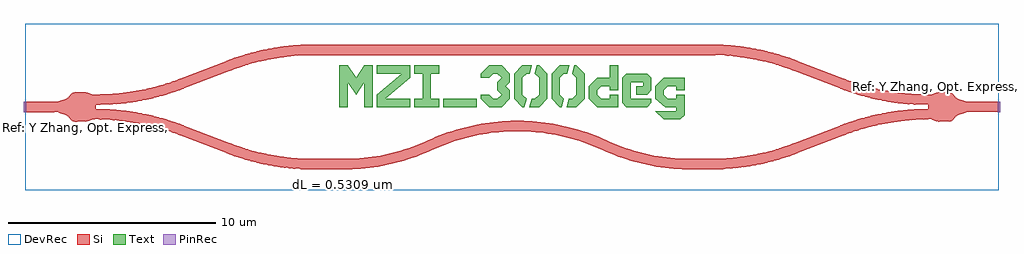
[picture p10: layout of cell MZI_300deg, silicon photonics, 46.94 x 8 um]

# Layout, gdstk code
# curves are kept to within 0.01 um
import gdstk
lib = gdstk.Library(unit=1e-6, precision=1e-09)
def R(c, l, rs):  # rectangles x0, y0, x1, y1
    for r in rs: c.add(gdstk.rectangle(r[:2], r[2:], *l))
def P(c, l, *ps):  # polygons
    for p in ps: c.add(gdstk.Polygon(p, *l))
Si = (1, 0)
PinRec = (1, 10)
Text = (10, 0)
DevRec = (68, 0)

optical_port1 = lib.new_cell('optical_port1')
optical_port1.add(gdstk.FlexPath([(0.05,0),(-0.05,0)], 0.5, ends="flush", simple_path=True, layer=1, datatype=10))  # PinRec
optical_port1.add(gdstk.FlexPath([(0.05,0),(-0.05,0)], 0.5, ends="flush", simple_path=True, layer=1, datatype=10))  # PinRec
optical_port1.add(gdstk.FlexPath([(0.05,0),(-0.05,0)], 0.5, ends="flush", simple_path=True, layer=1, datatype=10))  # PinRec
optical_port1.add(gdstk.FlexPath([(0.05,0),(-0.05,0)], 0.5, ends="flush", simple_path=True, layer=1, datatype=10))  # PinRec
optical_port1.add(gdstk.FlexPath([(0.05,0),(-0.05,0)], 0.5, ends="flush", simple_path=True, layer=1, datatype=10))  # PinRec
optical_port1.add(gdstk.FlexPath([(0.05,0),(-0.05,0)], 0.5, ends="flush", simple_path=True, layer=1, datatype=10))  # PinRec
optical_port1.add(gdstk.FlexPath([(0.05,0),(-0.05,0)], 0.5, ends="flush", simple_path=True, layer=1, datatype=10))  # PinRec
optical_port1.add(gdstk.FlexPath([(0.05,0),(-0.05,0)], 0.5, ends="flush", simple_path=True, layer=1, datatype=10))  # PinRec
optical_port1.add(gdstk.FlexPath([(0.05,0),(-0.05,0)], 0.5, ends="flush", simple_path=True, layer=1, datatype=10))  # PinRec
optical_port1.add(gdstk.FlexPath([(0.05,0),(-0.05,0)], 0.5, ends="flush", simple_path=True, layer=1, datatype=10))  # PinRec
optical_port1.add(gdstk.FlexPath([(0.05,0),(-0.05,0)], 0.5, ends="flush", simple_path=True, layer=1, datatype=10))  # PinRec
optical_port1.add(gdstk.FlexPath([(0.05,0),(-0.05,0)], 0.5, ends="flush", simple_path=True, layer=1, datatype=10))  # PinRec
optical_port1.add(gdstk.FlexPath([(0.05,0),(-0.05,0)], 0.5, ends="flush", simple_path=True, layer=1, datatype=10))  # PinRec
optical_port1.add(gdstk.FlexPath([(0.05,0),(-0.05,0)], 0.5, ends="flush", simple_path=True, layer=1, datatype=10))  # PinRec
optical_port1.add(gdstk.FlexPath([(0.05,0),(-0.05,0)], 0.5, ends="flush", simple_path=True, layer=1, datatype=10))  # PinRec
optical_port1.add(gdstk.FlexPath([(0.05,0),(-0.05,0)], 0.5, ends="flush", simple_path=True, layer=1, datatype=10))  # PinRec
optical_port1.add(gdstk.FlexPath([(0.05,0),(-0.05,0)], 0.5, ends="flush", simple_path=True, layer=1, datatype=10))  # PinRec
optical_port1.add(gdstk.FlexPath([(0.05,0),(-0.05,0)], 0.5, ends="flush", simple_path=True, layer=1, datatype=10))  # PinRec
optical_port1.add(gdstk.FlexPath([(0.05,0),(-0.05,0)], 0.5, ends="flush", simple_path=True, layer=1, datatype=10))  # PinRec
optical_port1.add(gdstk.FlexPath([(0.05,0),(-0.05,0)], 0.5, ends="flush", simple_path=True, layer=1, datatype=10))  # PinRec
optical_port1.add(gdstk.FlexPath([(0.05,0),(-0.05,0)], 0.5, ends="flush", simple_path=True, layer=1, datatype=10))  # PinRec
optical_port1.add(gdstk.FlexPath([(0.05,0),(-0.05,0)], 0.5, ends="flush", simple_path=True, layer=1, datatype=10))  # PinRec
optical_port1.add(gdstk.FlexPath([(0.05,0),(-0.05,0)], 0.5, ends="flush", simple_path=True, layer=1, datatype=10))  # PinRec
optical_port1.add(gdstk.FlexPath([(0.05,0),(-0.05,0)], 0.5, ends="flush", simple_path=True, layer=1, datatype=10))  # PinRec
optical_port1.add(gdstk.FlexPath([(0.05,0),(-0.05,0)], 0.5, ends="flush", simple_path=True, layer=1, datatype=10))  # PinRec
optical_port1.add(gdstk.FlexPath([(0.05,0),(-0.05,0)], 0.5, ends="flush", simple_path=True, layer=1, datatype=10))  # PinRec
optical_port1.add(gdstk.FlexPath([(0.05,0),(-0.05,0)], 0.5, ends="flush", simple_path=True, layer=1, datatype=10))  # PinRec
optical_port1.add(gdstk.FlexPath([(0.05,0),(-0.05,0)], 0.5, ends="flush", simple_path=True, layer=1, datatype=10))  # PinRec
optical_port1.add(gdstk.FlexPath([(0.05,0),(-0.05,0)], 0.5, ends="flush", simple_path=True, layer=1, datatype=10))  # PinRec
optical_port1.add(gdstk.FlexPath([(0.05,0),(-0.05,0)], 0.5, ends="flush", simple_path=True, layer=1, datatype=10))  # PinRec
optical_port1.add(gdstk.FlexPath([(0.05,0),(-0.05,0)], 0.5, ends="flush", simple_path=True, layer=1, datatype=10))  # PinRec
optical_port1.add(gdstk.FlexPath([(0.05,0),(-0.05,0)], 0.5, ends="flush", simple_path=True, layer=1, datatype=10))  # PinRec
optical_port1.add(gdstk.FlexPath([(0.05,0),(-0.05,0)], 0.5, ends="flush", simple_path=True, layer=1, datatype=10))  # PinRec
optical_port1.add(gdstk.FlexPath([(0.05,0),(-0.05,0)], 0.5, ends="flush", simple_path=True, layer=1, datatype=10))  # PinRec
optical_port1.add(gdstk.FlexPath([(0.05,0),(-0.05,0)], 0.5, ends="flush", simple_path=True, layer=1, datatype=10))  # PinRec
optical_port1.add(gdstk.FlexPath([(0.05,0),(-0.05,0)], 0.5, ends="flush", simple_path=True, layer=1, datatype=10))  # PinRec
optical_port1.add(gdstk.FlexPath([(0.05,0),(-0.05,0)], 0.5, ends="flush", simple_path=True, layer=1, datatype=10))  # PinRec
optical_port1.add(gdstk.Label('o1', (0,0), layer=1, texttype=10))
optical_port1.add(gdstk.Label('o1', (0,0), layer=1, texttype=10))
optical_port1.add(gdstk.Label('o1', (0,0), layer=1, texttype=10))
optical_port1.add(gdstk.Label('o1', (0,0), layer=1, texttype=10))
optical_port1.add(gdstk.Label('o1', (0,0), layer=1, texttype=10))
optical_port1.add(gdstk.Label('o1', (0,0), layer=1, texttype=10))
optical_port1.add(gdstk.Label('o1', (0,0), layer=1, texttype=10))
optical_port1.add(gdstk.Label('o1', (0,0), layer=1, texttype=10))
optical_port1.add(gdstk.Label('o1', (0,0), layer=1, texttype=10))
optical_port1.add(gdstk.Label('o1', (0,0), layer=1, texttype=10))
optical_port1.add(gdstk.Label('o1', (0,0), layer=1, texttype=10))
optical_port1.add(gdstk.Label('o1', (0,0), layer=1, texttype=10))
optical_port1.add(gdstk.Label('o1', (0,0), layer=1, texttype=10))
optical_port1.add(gdstk.Label('o1', (0,0), layer=1, texttype=10))
optical_port1.add(gdstk.Label('o1', (0,0), layer=1, texttype=10))
optical_port1.add(gdstk.Label('o1', (0,0), layer=1, texttype=10))
optical_port1.add(gdstk.Label('o1', (0,0), layer=1, texttype=10))
optical_port1.add(gdstk.Label('o1', (0,0), layer=1, texttype=10))
optical_port1.add(gdstk.Label('o1', (0,0), layer=1, texttype=10))
optical_port1.add(gdstk.Label('o1', (0,0), layer=1, texttype=10))
optical_port1.add(gdstk.Label('o1', (0,0), layer=1, texttype=10))
optical_port1.add(gdstk.Label('o1', (0,0), layer=1, texttype=10))
optical_port1.add(gdstk.Label('o1', (0,0), layer=1, texttype=10))
optical_port1.add(gdstk.Label('o1', (0,0), layer=1, texttype=10))
optical_port1.add(gdstk.Label('o1', (0,0), layer=1, texttype=10))
optical_port1.add(gdstk.Label('o1', (0,0), layer=1, texttype=10))
optical_port1.add(gdstk.Label('o1', (0,0), layer=1, texttype=10))
optical_port1.add(gdstk.Label('o1', (0,0), layer=1, texttype=10))
optical_port1.add(gdstk.Label('o1', (0,0), layer=1, texttype=10))
optical_port1.add(gdstk.Label('o1', (0,0), layer=1, texttype=10))
optical_port1.add(gdstk.Label('o1', (0,0), layer=1, texttype=10))
optical_port1.add(gdstk.Label('o1', (0,0), layer=1, texttype=10))
optical_port1.add(gdstk.Label('o1', (0,0), layer=1, texttype=10))
optical_port1.add(gdstk.Label('o1', (0,0), layer=1, texttype=10))
optical_port1.add(gdstk.Label('o1', (0,0), layer=1, texttype=10))
optical_port1.add(gdstk.Label('o1', (0,0), layer=1, texttype=10))
optical_port1.add(gdstk.Label('o1', (0,0), layer=1, texttype=10))

optical_port2 = lib.new_cell('optical_port2')
optical_port2.add(gdstk.FlexPath([(-0.05,0),(0.05,0)], 0.5, ends="flush", simple_path=True, layer=1, datatype=10))  # PinRec
optical_port2.add(gdstk.FlexPath([(-0.05,0),(0.05,0)], 0.5, ends="flush", simple_path=True, layer=1, datatype=10))  # PinRec
optical_port2.add(gdstk.FlexPath([(-0.05,0),(0.05,0)], 0.5, ends="flush", simple_path=True, layer=1, datatype=10))  # PinRec
optical_port2.add(gdstk.FlexPath([(-0.05,0),(0.05,0)], 0.5, ends="flush", simple_path=True, layer=1, datatype=10))  # PinRec
optical_port2.add(gdstk.FlexPath([(-0.05,0),(0.05,0)], 0.5, ends="flush", simple_path=True, layer=1, datatype=10))  # PinRec
optical_port2.add(gdstk.FlexPath([(-0.05,0),(0.05,0)], 0.5, ends="flush", simple_path=True, layer=1, datatype=10))  # PinRec
optical_port2.add(gdstk.FlexPath([(-0.05,0),(0.05,0)], 0.5, ends="flush", simple_path=True, layer=1, datatype=10))  # PinRec
optical_port2.add(gdstk.FlexPath([(-0.05,0),(0.05,0)], 0.5, ends="flush", simple_path=True, layer=1, datatype=10))  # PinRec
optical_port2.add(gdstk.FlexPath([(-0.05,0),(0.05,0)], 0.5, ends="flush", simple_path=True, layer=1, datatype=10))  # PinRec
optical_port2.add(gdstk.FlexPath([(-0.05,0),(0.05,0)], 0.5, ends="flush", simple_path=True, layer=1, datatype=10))  # PinRec
optical_port2.add(gdstk.FlexPath([(-0.05,0),(0.05,0)], 0.5, ends="flush", simple_path=True, layer=1, datatype=10))  # PinRec
optical_port2.add(gdstk.FlexPath([(-0.05,0),(0.05,0)], 0.5, ends="flush", simple_path=True, layer=1, datatype=10))  # PinRec
optical_port2.add(gdstk.FlexPath([(-0.05,0),(0.05,0)], 0.5, ends="flush", simple_path=True, layer=1, datatype=10))  # PinRec
optical_port2.add(gdstk.FlexPath([(-0.05,0),(0.05,0)], 0.5, ends="flush", simple_path=True, layer=1, datatype=10))  # PinRec
optical_port2.add(gdstk.FlexPath([(-0.05,0),(0.05,0)], 0.5, ends="flush", simple_path=True, layer=1, datatype=10))  # PinRec
optical_port2.add(gdstk.FlexPath([(-0.05,0),(0.05,0)], 0.5, ends="flush", simple_path=True, layer=1, datatype=10))  # PinRec
optical_port2.add(gdstk.FlexPath([(-0.05,0),(0.05,0)], 0.5, ends="flush", simple_path=True, layer=1, datatype=10))  # PinRec
optical_port2.add(gdstk.FlexPath([(-0.05,0),(0.05,0)], 0.5, ends="flush", simple_path=True, layer=1, datatype=10))  # PinRec
optical_port2.add(gdstk.FlexPath([(-0.05,0),(0.05,0)], 0.5, ends="flush", simple_path=True, layer=1, datatype=10))  # PinRec
optical_port2.add(gdstk.FlexPath([(-0.05,0),(0.05,0)], 0.5, ends="flush", simple_path=True, layer=1, datatype=10))  # PinRec
optical_port2.add(gdstk.FlexPath([(-0.05,0),(0.05,0)], 0.5, ends="flush", simple_path=True, layer=1, datatype=10))  # PinRec
optical_port2.add(gdstk.FlexPath([(-0.05,0),(0.05,0)], 0.5, ends="flush", simple_path=True, layer=1, datatype=10))  # PinRec
optical_port2.add(gdstk.FlexPath([(-0.05,0),(0.05,0)], 0.5, ends="flush", simple_path=True, layer=1, datatype=10))  # PinRec
optical_port2.add(gdstk.FlexPath([(-0.05,0),(0.05,0)], 0.5, ends="flush", simple_path=True, layer=1, datatype=10))  # PinRec
optical_port2.add(gdstk.FlexPath([(-0.05,0),(0.05,0)], 0.5, ends="flush", simple_path=True, layer=1, datatype=10))  # PinRec
optical_port2.add(gdstk.FlexPath([(-0.05,0),(0.05,0)], 0.5, ends="flush", simple_path=True, layer=1, datatype=10))  # PinRec
optical_port2.add(gdstk.FlexPath([(-0.05,0),(0.05,0)], 0.5, ends="flush", simple_path=True, layer=1, datatype=10))  # PinRec
optical_port2.add(gdstk.FlexPath([(-0.05,0),(0.05,0)], 0.5, ends="flush", simple_path=True, layer=1, datatype=10))  # PinRec
optical_port2.add(gdstk.FlexPath([(-0.05,0),(0.05,0)], 0.5, ends="flush", simple_path=True, layer=1, datatype=10))  # PinRec
optical_port2.add(gdstk.FlexPath([(-0.05,0),(0.05,0)], 0.5, ends="flush", simple_path=True, layer=1, datatype=10))  # PinRec
optical_port2.add(gdstk.FlexPath([(-0.05,0),(0.05,0)], 0.5, ends="flush", simple_path=True, layer=1, datatype=10))  # PinRec
optical_port2.add(gdstk.FlexPath([(-0.05,0),(0.05,0)], 0.5, ends="flush", simple_path=True, layer=1, datatype=10))  # PinRec
optical_port2.add(gdstk.FlexPath([(-0.05,0),(0.05,0)], 0.5, ends="flush", simple_path=True, layer=1, datatype=10))  # PinRec
optical_port2.add(gdstk.FlexPath([(-0.05,0),(0.05,0)], 0.5, ends="flush", simple_path=True, layer=1, datatype=10))  # PinRec
optical_port2.add(gdstk.FlexPath([(-0.05,0),(0.05,0)], 0.5, ends="flush", simple_path=True, layer=1, datatype=10))  # PinRec
optical_port2.add(gdstk.FlexPath([(-0.05,0),(0.05,0)], 0.5, ends="flush", simple_path=True, layer=1, datatype=10))  # PinRec
optical_port2.add(gdstk.FlexPath([(-0.05,0),(0.05,0)], 0.5, ends="flush", simple_path=True, layer=1, datatype=10))  # PinRec
optical_port2.add(gdstk.Label('o2', (0,0), layer=1, texttype=10))
optical_port2.add(gdstk.Label('o2', (0,0), layer=1, texttype=10))
optical_port2.add(gdstk.Label('o2', (0,0), layer=1, texttype=10))
optical_port2.add(gdstk.Label('o2', (0,0), layer=1, texttype=10))
optical_port2.add(gdstk.Label('o2', (0,0), layer=1, texttype=10))
optical_port2.add(gdstk.Label('o2', (0,0), layer=1, texttype=10))
optical_port2.add(gdstk.Label('o2', (0,0), layer=1, texttype=10))
optical_port2.add(gdstk.Label('o2', (0,0), layer=1, texttype=10))
optical_port2.add(gdstk.Label('o2', (0,0), layer=1, texttype=10))
optical_port2.add(gdstk.Label('o2', (0,0), layer=1, texttype=10))
optical_port2.add(gdstk.Label('o2', (0,0), layer=1, texttype=10))
optical_port2.add(gdstk.Label('o2', (0,0), layer=1, texttype=10))
optical_port2.add(gdstk.Label('o2', (0,0), layer=1, texttype=10))
optical_port2.add(gdstk.Label('o2', (0,0), layer=1, texttype=10))
optical_port2.add(gdstk.Label('o2', (0,0), layer=1, texttype=10))
optical_port2.add(gdstk.Label('o2', (0,0), layer=1, texttype=10))
optical_port2.add(gdstk.Label('o2', (0,0), layer=1, texttype=10))
optical_port2.add(gdstk.Label('o2', (0,0), layer=1, texttype=10))
optical_port2.add(gdstk.Label('o2', (0,0), layer=1, texttype=10))
optical_port2.add(gdstk.Label('o2', (0,0), layer=1, texttype=10))
optical_port2.add(gdstk.Label('o2', (0,0), layer=1, texttype=10))
optical_port2.add(gdstk.Label('o2', (0,0), layer=1, texttype=10))
optical_port2.add(gdstk.Label('o2', (0,0), layer=1, texttype=10))
optical_port2.add(gdstk.Label('o2', (0,0), layer=1, texttype=10))
optical_port2.add(gdstk.Label('o2', (0,0), layer=1, texttype=10))
optical_port2.add(gdstk.Label('o2', (0,0), layer=1, texttype=10))
optical_port2.add(gdstk.Label('o2', (0,0), layer=1, texttype=10))
optical_port2.add(gdstk.Label('o2', (0,0), layer=1, texttype=10))
optical_port2.add(gdstk.Label('o2', (0,0), layer=1, texttype=10))
optical_port2.add(gdstk.Label('o2', (0,0), layer=1, texttype=10))
optical_port2.add(gdstk.Label('o2', (0,0), layer=1, texttype=10))
optical_port2.add(gdstk.Label('o2', (0,0), layer=1, texttype=10))
optical_port2.add(gdstk.Label('o2', (0,0), layer=1, texttype=10))
optical_port2.add(gdstk.Label('o2', (0,0), layer=1, texttype=10))
optical_port2.add(gdstk.Label('o2', (0,0), layer=1, texttype=10))
optical_port2.add(gdstk.Label('o2', (0,0), layer=1, texttype=10))
optical_port2.add(gdstk.Label('o2', (0,0), layer=1, texttype=10))

text_tmzi_300deg_s2_p16_ = lib.new_cell('text_TMZI_300deg_S2_P16_6e316dc0')
R(text_tmzi_300deg_s2_p16_, Text, [(12.72,0,14.32,0.4)])
P(text_tmzi_300deg_s2_p16_, Text, [(23.32,-0.6),(22.92,-0.2),(23.92,-0.2),(23.92,0),(23.388,0),(22.92,0.4),(22.92,1),(23.32,1.4),(24.32,1.4),(24.32,0.8),(23.92,0.8),(23.92,1),(23.52,1),(23.32,0.8),(23.32,0.6),(23.52,0.4),(23.92,0.4),(23.92,0.6),(24.32,0.6),(24.32,-0.4),(24.12,-0.6)],
  [(21.52,0),(21.32,0.2),(21.32,1.4),(21.52,1.6),(22.52,1.6),(22.72,1.4),(22.72,0.8),(22.52,0.6),(22,0.6),(22,1),(22.32,1),(22.32,1.2),(21.72,1.2),(21.72,0.4),(22.72,0.4),(22.72,0.2),(22.52,0)],
  [(7.72,0),(7.72,2),(8.12,2),(8.52,1.4),(8.92,2),(9.32,2),(9.32,0),(8.92,0),(8.92,1.2),(8.52,0.6),(8.12,1.2),(8.12,0)],
  [(9.52,0),(9.52,0.6),(10.72,1.6),(9.52,1.6),(9.52,2),(11.12,2),(11.12,1.4),(9.92,0.4),(11.12,0.4),(11.12,0)],
  [(11.32,0),(11.32,0.4),(11.72,0.4),(11.72,1.6),(11.32,1.6),(11.32,2),(12.52,2),(12.52,1.6),(12.12,1.6),(12.12,0.4),(12.52,0.4),(12.52,0)],
  [(14.92,0),(14.52,0.4),(14.52,0.6),(14.92,0.6),(15.12,0.4),(15.32,0.4),(15.52,0.6),(15.32,0.8),(15.32,1.2),(15.52,1.4),(15.32,1.6),(15.12,1.6),(14.92,1.4),(14.52,1.4),(14.52,1.6),(14.92,2),(15.52,2),(15.92,1.6),(15.92,1.2),(15.72,1),(15.92,0.8),(15.92,0.4),(15.52,0)],
  [(16.52,0),(16.12,0.4),(16.12,1.6),(16.52,2),(16.98,2),(16.88,1.6),(16.72,1.6),(16.52,1.4),(16.52,0.6),(16.72,0.4),(16.62,0)],
  [(16.86,0),(16.96,0.4),(17.12,0.4),(17.32,0.6),(17.32,1.4),(17.12,1.6),(17.22,2),(17.32,2),(17.72,1.6),(17.72,0.4),(17.32,0)],
  [(18.32,0),(17.92,0.4),(17.92,1.6),(18.32,2),(18.78,2),(18.68,1.6),(18.52,1.6),(18.32,1.4),(18.32,0.6),(18.52,0.4),(18.42,0)],
  [(18.66,0),(18.76,0.4),(18.92,0.4),(19.12,0.6),(19.12,1.4),(18.92,1.6),(19.02,2),(19.12,2),(19.52,1.6),(19.52,0.4),(19.12,0)],
  [(20.12,0),(19.72,0.4),(19.72,1),(20.12,1.4),(20.72,1.4),(20.72,2),(21.12,2),(21.12,0.8),(20.72,0.8),(20.72,1),(20.32,1),(20.12,0.8),(20.12,0.6),(20.32,0.4),(20.72,0.4),(20.72,0.6),(21.12,0.6),(21.12,0)])

mzi_300deg = lib.new_cell('MZI_300deg')
P(mzi_300deg, Si, [(6.458,-3),(5.718,-2.974),(4.993,-2.903),(4.257,-2.784),(3.509,-2.613),(3.017,-2.472),(2.491,-2.295),(-0.369,-1.202),(-1.123,-0.974),(-1.826,-0.812),(-2.677,-0.678),(-3.601,-0.607),(-4.123,-0.595),(-4.492,-0.699),(-4.991,-0.701),(-5.077,-0.683),(-5.145,-0.647),(-5.344,-0.44),(-5.434,-0.378),(-5.833,-0.25),(-7.4,-0.25),(-7.4,0.25),(-5.833,0.25),(-5.434,0.378),(-5.344,0.44),(-5.145,0.647),(-5.077,0.683),(-4.991,0.701),(-4.492,0.699),(-4.123,0.595),(-3.501,0.611),(-2.619,0.685),(-1.693,0.839),(-0.976,1.014),(-0.334,1.214),(2.412,2.266),(3.109,2.5),(6.456,2.5),(5.796,2.478),(5.119,2.415),(4.414,2.305),(3.799,2.171),(3.282,2.03),(2.706,1.841),(0.088,0.834),(-0.72,0.567),(-1.565,0.355),(-2.381,0.212),(-3.16,0.13),(-4,0.1),(-4,-0.1),(-3.265,-0.123),(-2.564,-0.188),(-1.895,-0.29),(-1.214,-0.435),(-0.612,-0.599),(-0.086,-0.771),(2.532,-1.777),(3.336,-2.046),(3.962,-2.21),(4.54,-2.328),(5.119,-2.415),(5.678,-2.47),(6.344,-2.499),(8.107,-2.498),(8.907,-2.449),(9.503,-2.369),(10.287,-2.205),(11.055,-1.978),(11.618,-1.766),(12.363,-1.441),(12.746,-1.292),(13.135,-1.158),(13.728,-0.987),(14.33,-0.852),(14.939,-0.753),(15.553,-0.691),(16.17,-0.667),(16.787,-0.679),(17.402,-0.728),(18.216,-0.852),(18.818,-0.987),(19.411,-1.158),(19.8,-1.292),(20.183,-1.441),(20.928,-1.766),(21.491,-1.978),(22.259,-2.205),(23.043,-2.369),(23.639,-2.449),(24.439,-2.498),(25.756,-2.498),(26.488,-2.46),(27.036,-2.4),(27.625,-2.305),(28.24,-2.171),(28.757,-2.03),(29.507,-1.777),(32.008,-0.813),(32.461,-0.658),(32.999,-0.5),(33.796,-0.316),(34.532,-0.197),(35.288,-0.124),(36.039,-0.1),(36.039,0.1),(35.304,0.123),(34.603,0.188),(33.934,0.29),(33.253,0.435),(32.651,0.599),(32.125,0.771),(29.507,1.777),(28.757,2.03),(28.24,2.171),(27.667,2.297),(27.08,2.394),(26.567,2.453),(26.081,2.487),(25.583,2.5),(3.109,2.5),(3.59,2.634),(4.147,2.762),(4.757,2.87),(5.294,2.938),(5.868,2.983),(6.458,3),(25.581,3),(26.446,2.965),(27.046,2.903),(27.644,2.81),(28.229,2.688),(28.819,2.533),(29.627,2.266),(32.373,1.214),(33.015,1.014),(33.732,0.839),(34.658,0.685),(35.54,0.611),(36.162,0.595),(36.531,0.699),(37.03,0.701),(37.116,0.683),(37.184,0.647),(37.383,0.44),(37.473,0.378),(37.872,0.25),(39.439,0.25),(39.439,-0.25),(37.872,-0.25),(37.473,-0.378),(37.383,-0.44),(37.184,-0.647),(37.116,-0.683),(37.03,-0.701),(36.531,-0.699),(36.162,-0.595),(35.54,-0.611),(34.658,-0.685),(33.732,-0.839),(33.015,-1.014),(32.373,-1.214),(29.627,-2.266),(28.937,-2.498),(28.449,-2.634),(27.892,-2.762),(27.282,-2.87),(26.745,-2.938),(25.848,-2.996),(24.428,-2.998),(23.588,-2.946),(22.961,-2.862),(22.137,-2.69),(21.529,-2.517),(20.933,-2.307),(19.628,-1.761),(19.258,-1.634),(18.694,-1.471),(18.121,-1.343),(17.347,-1.225),(16.762,-1.178),(16.175,-1.166),(15.589,-1.19),(15.004,-1.249),(14.425,-1.343),(13.852,-1.471),(13.288,-1.634),(12.918,-1.761),(12.553,-1.903),(11.808,-2.228),(11.217,-2.451),(10.409,-2.69),(9.792,-2.825),(9.168,-2.922),(8.539,-2.981),(7.907,-3)])
R(mzi_300deg, DevRec, [(-7.4,-4,39.439,4)])
mzi_300deg.add(gdstk.Reference(optical_port1, (-7.4,0)))
mzi_300deg.add(gdstk.Reference(optical_port2, (39.439,0)))
mzi_300deg.add(gdstk.Reference(text_tmzi_300deg_s2_p16_, (0,0)))
mzi_300deg.add(gdstk.Label('Ref: Y Zhang, Opt. Express, 21/1, 2013', (-5.65,-1), layer=10, texttype=0))
mzi_300deg.add(gdstk.Label('Ref: Y Zhang, Opt. Express, 21/1, 2013', (37.689,1), layer=10, texttype=0))
mzi_300deg.add(gdstk.Label('dL = 0.5309 um', (7.908,-3.75), layer=10, texttype=0))

lib.write_gds('MZI_300deg.gds')
